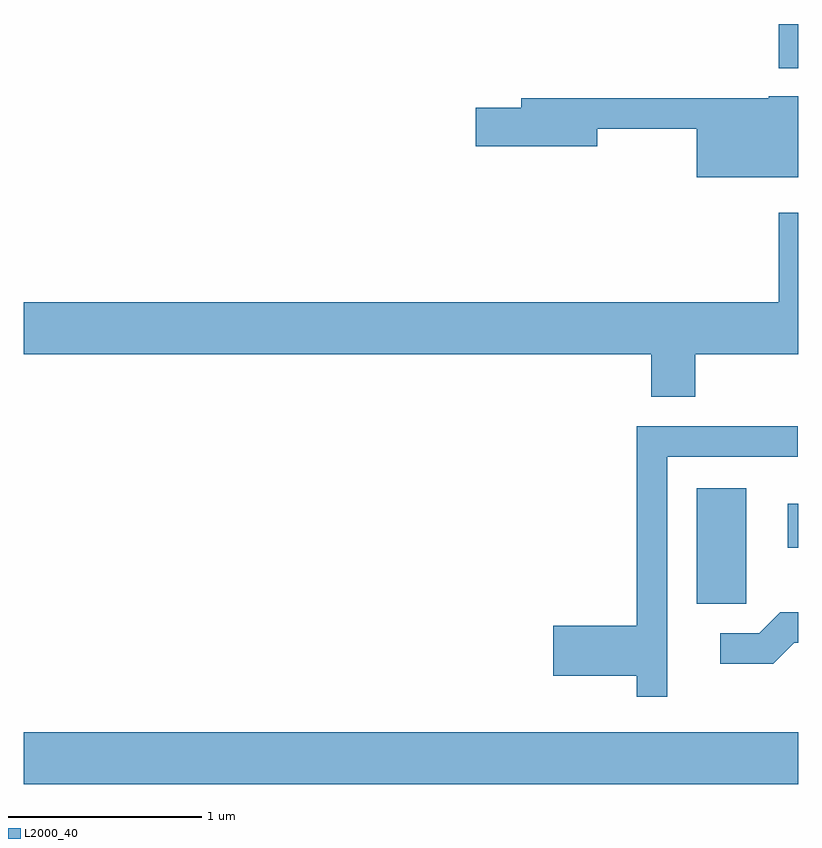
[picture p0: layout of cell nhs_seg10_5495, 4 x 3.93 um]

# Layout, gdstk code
import gdstk
lib = gdstk.Library(unit=1e-6, precision=1e-09)
def R(c, l, rs):  # rectangles x0, y0, x1, y1
    for r in rs: c.add(gdstk.rectangle(r[:2], r[2:], *l))
def P(c, l, *ps):  # polygons
    for p in ps: c.add(gdstk.Polygon(p, *l))
L2000_40 = (2000, 40)

nhs_seg10_5495 = lib.new_cell('nhs_seg10_5495')
R(nhs_seg10_5495, L2000_40, [(347.611,2100.596,351.611,2100.864), (351.086,2101.526,351.344,2102.124), (351.556,2101.816,351.611,2102.044), (351.511,2104.293,351.611,2104.522)])
P(nhs_seg10_5495, L2000_40, [(351.611,2104.149),(351.46,2104.149),(351.46,2104.139),(350.181,2104.139),(350.181,2104.089),(349.946,2104.089),(349.946,2103.891),(350.574,2103.891),(350.574,2103.981),(351.086,2103.981),(351.086,2103.731),(351.611,2103.731)],
  [(351.079,2102.816),(351.611,2102.816),(351.611,2103.548),(351.511,2103.548),(351.511,2103.084),(347.611,2103.084),(347.611,2102.816),(350.851,2102.816),(350.851,2102.596),(351.079,2102.596)],
  [(350.934,2102.286),(351.608,2102.286),(351.608,2102.444),(350.776,2102.444),(350.776,2101.414),(350.346,2101.414),(350.346,2101.156),(350.776,2101.156),(350.776,2101.048),(350.934,2101.048)],
  [(351.592,2101.326),(351.611,2101.326),(351.611,2101.484),(351.519,2101.484),(351.409,2101.374),(351.208,2101.374),(351.208,2101.216),(351.482,2101.216)])

lib.write_gds('nhs_seg10_5495.gds')
